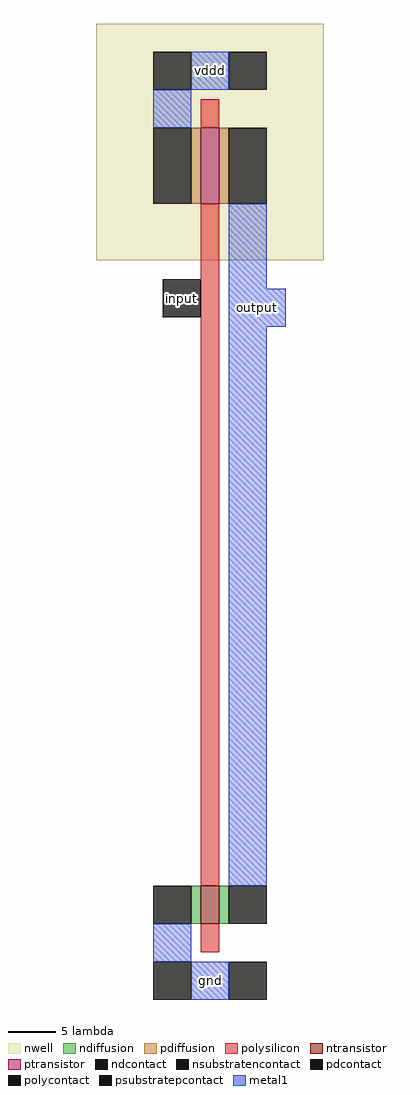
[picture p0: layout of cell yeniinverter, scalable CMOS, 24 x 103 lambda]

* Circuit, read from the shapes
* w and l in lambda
.subckt yeniinverter gnd input output vddd
M1 output input gnd gnd nfet w=4 l=2
M2 output input vddd vddd pfet w=8 l=2
.ends

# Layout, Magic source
magic
tech scmos
<< nwell >>
rect -7 -11 17 14
<< ntransistor >>
rect 4 -81 6 -77
<< ptransistor >>
rect 4 -5 6 3
<< ndiffusion >>
rect 3 -81 4 -77
rect 6 -81 7 -77
<< pdiffusion >>
rect 3 -5 4 3
rect 6 -5 7 3
<< ndcontact >>
rect -1 -81 3 -77
rect 7 -81 11 -77
<< pdcontact >>
rect -1 -5 3 3
rect 7 -5 11 3
<< psubstratepcontact >>
rect -1 -89 3 -85
rect 7 -89 11 -85
<< nsubstratencontact >>
rect -1 7 3 11
rect 7 7 11 11
<< polysilicon >>
rect 4 3 6 6
rect 4 -77 6 -5
rect 4 -84 6 -81
<< polycontact >>
rect 0 -17 4 -13
<< metal1 >>
rect 3 7 7 11
rect -1 3 3 7
rect 7 -14 11 -5
rect 7 -18 13 -14
rect 7 -77 11 -18
rect -1 -85 3 -81
rect 3 -89 7 -85
<< labels >>
rlabel polycontact 2 -15 2 -15 1 input
rlabel metal1 10 -16 10 -16 1 output
rlabel metal1 5 9 5 9 5 vddd
rlabel metal1 5 -87 5 -87 1 gnd
<< end >>
